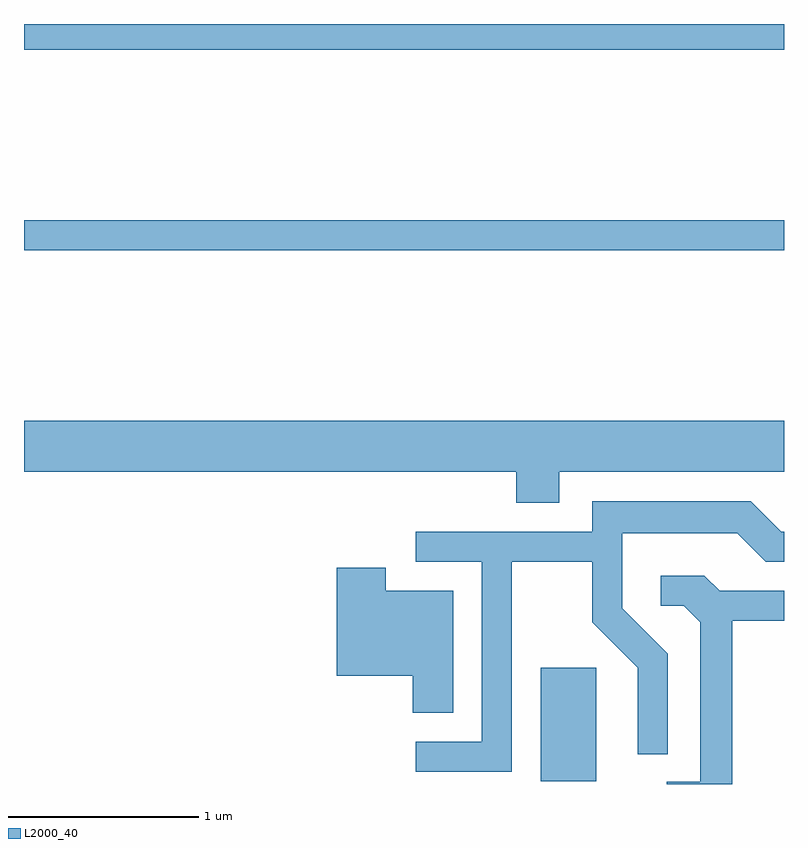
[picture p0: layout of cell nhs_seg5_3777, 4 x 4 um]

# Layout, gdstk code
import gdstk
lib = gdstk.Library(unit=1e-6, precision=1e-09)
def R(c, l, rs):  # rectangles x0, y0, x1, y1
    for r in rs: c.add(gdstk.rectangle(r[:2], r[2:], *l))
def P(c, l, *ps):  # polygons
    for p in ps: c.add(gdstk.Polygon(p, *l))
L2000_40 = (2000, 40)

nhs_seg5_3777 = lib.new_cell('nhs_seg5_3777')
R(nhs_seg5_3777, L2000_40, [(300.331,1424.086,300.624,1424.684), (297.611,1426.881,301.611,1427.039), (297.611,1427.936,301.611,1428.072)])
P(nhs_seg5_3777, L2000_40, [(300.429,1425.716),(301.611,1425.716),(301.611,1425.984),(297.611,1425.984),(297.611,1425.716),(300.201,1425.716),(300.201,1425.551),(300.429,1425.551)],
  [(300.179,1425.241),(300.601,1425.241),(300.601,1424.924),(300.841,1424.684),(300.841,1424.228),(300.999,1424.228),(300.999,1424.757),(300.759,1424.997),(300.759,1425.391),(301.364,1425.391),(301.514,1425.241),(301.611,1425.241),(301.611,1425.399),(301.597,1425.399),(301.437,1425.559),(300.601,1425.559),(300.601,1425.399),(299.673,1425.399),(299.673,1425.241),(300.021,1425.241),(300.021,1424.294),(299.673,1424.294),(299.673,1424.136),(300.179,1424.136)],
  [(299.869,1425.089),(299.514,1425.089),(299.514,1425.209),(299.256,1425.209),(299.256,1424.641),(299.656,1424.641),(299.656,1424.446),(299.869,1424.446)],
  [(301.339,1424.931),(301.611,1424.931),(301.611,1425.089),(301.272,1425.089),(301.192,1425.169),(300.963,1425.169),(300.963,1425.011),(301.084,1425.011),(301.171,1424.924),(301.171,1424.084),(300.993,1424.084),(300.993,1424.072),(301.339,1424.072)])

lib.write_gds('nhs_seg5_3777.gds')
